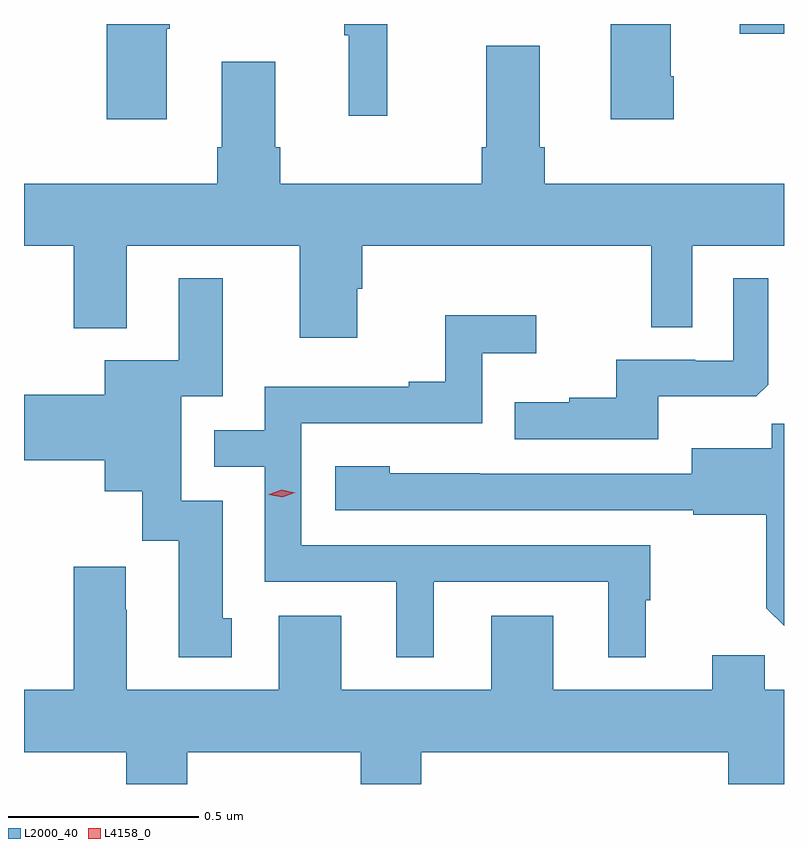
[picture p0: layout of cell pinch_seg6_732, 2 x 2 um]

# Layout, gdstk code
import gdstk
lib = gdstk.Library(unit=1e-6, precision=1e-09)
def R(c, l, rs):  # rectangles x0, y0, x1, y1
    for r in rs: c.add(gdstk.rectangle(r[:2], r[2:], *l))
def P(c, l, *ps):  # polygons
    for p in ps: c.add(gdstk.Polygon(p, *l))
L2000_40 = (2000, 40)
L4158_0 = (4158, 0)

pinch_seg6_732 = lib.new_cell('pinch_seg6_732')
R(pinch_seg6_732, L2000_40, [(420.983,934.575,421.1,934.6)])
P(pinch_seg6_732, L2000_40, [(420.81,934.462),(420.802,934.462),(420.802,934.6),(420.644,934.6),(420.644,934.35),(420.81,934.35)],
  [(420.056,934.6),(419.943,934.6),(419.943,934.571),(419.954,934.571),(419.954,934.359),(420.056,934.359)],
  [(419.476,934.588),(419.484,934.588),(419.484,934.6),(419.318,934.6),(419.318,934.35),(419.476,934.35)],
  [(419.977,933.903),(419.99,933.903),(419.99,934.016),(420.75,934.016),(420.75,933.802),(420.858,933.802),(420.858,934.016),(421.1,934.016),(421.1,934.18),(420.47,934.18),(420.47,934.276),(420.457,934.276),(420.457,934.543),(420.317,934.543),(420.317,934.276),(420.305,934.276),(420.305,934.18),(419.774,934.18),(419.774,934.276),(419.761,934.276),(419.761,934.501),(419.621,934.501),(419.621,934.276),(419.609,934.276),(419.609,934.18),(419.1,934.18),(419.1,934.016),(419.231,934.016),(419.231,933.8),(419.371,933.8),(419.371,934.016),(419.825,934.016),(419.825,933.774),(419.977,933.774)],
  [(419.647,933.036),(419.623,933.036),(419.623,933.345),(419.514,933.345),(419.514,933.621),(419.623,933.621),(419.623,933.931),(419.507,933.931),(419.507,933.715),(419.312,933.715),(419.312,933.624),(419.1,933.624),(419.1,933.452),(419.312,933.452),(419.312,933.371),(419.411,933.371),(419.411,933.24),(419.507,933.24),(419.507,932.934),(419.647,932.934)],
  [(420.769,933.62),(421.027,933.62),(421.059,933.651),(421.059,933.931),(420.966,933.931),(420.966,933.714),(420.866,933.714),(420.866,933.717),(420.659,933.717),(420.659,933.616),(420.535,933.616),(420.535,933.604),(420.391,933.604),(420.391,933.507),(420.769,933.507)],
  [(420.178,933.132),(420.638,933.132),(420.638,932.933),(420.736,932.933),(420.736,933.084),(420.748,933.084),(420.748,933.228),(419.829,933.228),(419.829,933.549),(420.306,933.549),(420.306,933.734),(420.448,933.734),(420.448,933.833),(420.208,933.833),(420.208,933.658),(420.113,933.658),(420.113,933.645),(419.733,933.645),(419.733,933.531),(419.6,933.531),(419.6,933.435),(419.733,933.435),(419.733,933.132),(420.08,933.132),(420.08,932.933),(420.178,932.933)],
  [(421.1,933.548),(421.068,933.548),(421.068,933.484),(420.857,933.484),(420.857,933.417),(420.299,933.417),(420.299,933.418),(420.063,933.418),(420.063,933.436),(419.919,933.436),(419.919,933.321),(420.861,933.321),(420.861,933.309),(421.053,933.309),(421.053,933.063),(421.1,933.016)],
  [(419.529,932.684),(419.986,932.684),(419.986,932.6),(420.146,932.6),(420.146,932.684),(420.953,932.684),(420.953,932.6),(421.1,932.6),(421.1,932.848),(421.049,932.848),(421.049,932.939),(420.911,932.939),(420.911,932.848),(420.493,932.848),(420.493,933.043),(420.329,933.043),(420.329,932.848),(419.935,932.848),(419.935,933.043),(419.771,933.043),(419.771,932.848),(419.371,932.848),(419.371,933.059),(419.368,933.059),(419.368,933.172),(419.231,933.172),(419.231,932.848),(419.1,932.848),(419.1,932.684),(419.369,932.684),(419.369,932.6),(419.529,932.6)])
P(pinch_seg6_732, L4158_0, [(419.78,933.354),(419.745,933.361),(419.744,933.361),(419.745,933.362),(419.778,933.374),(419.813,933.367),(419.814,933.367),(419.813,933.366)])

lib.write_gds('pinch_seg6_732.gds')
